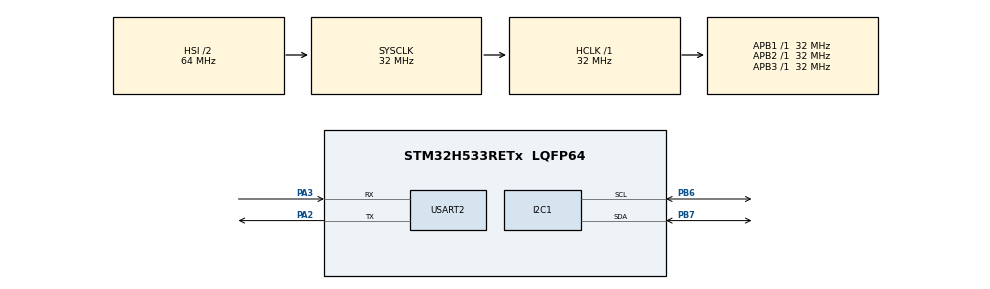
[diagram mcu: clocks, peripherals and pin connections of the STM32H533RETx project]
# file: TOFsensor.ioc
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BOOTPATH.BootPathName=LEGACY
BOOTPATH.UserSelectedBootPath=LEGACY
CORTEX_M33_NS.userName=CORTEX_M33
I2C1.Timing=0x00707CBB
Mcu.Family=STM32H5
Mcu.Name=STM32H533RETx
Mcu.Package=LQFP64
NVIC.PriorityGroup=NVIC_PRIORITYGROUP_4
NVIC.USART2_IRQn=true\:0\:0\:false\:false\:true\:true\:true\:true
PA2.Mode=Asynchronous
PA2.Signal=USART2_TX
PA3.Mode=Asynchronous
PA3.Signal=USART2_RX
PB6.Mode=I2C
PB6.Signal=I2C1_SCL
PB7.Mode=I2C
PB7.Signal=I2C1_SDA
ProjectManager.HeapSize=0x200
ProjectManager.StackSize=0x400
ProjectManager.TargetToolchain=STM32CubeIDE
RCC.ADCFreq_Value=32000000
RCC.AHBFreq_Value=32000000
RCC.APB1Freq_Value=32000000
RCC.APB1TimFreq_Value=32000000
RCC.APB2Freq_Value=32000000
RCC.APB2TimFreq_Value=32000000
RCC.APB3Freq_Value=32000000
RCC.CSI_VALUE=4000000
RCC.CortexFreq_Value=32000000
RCC.EPOD_VALUE=4000000
RCC.HCLKFreq_Value=32000000
RCC.HSE_VALUE=25000000
RCC.HSI48_VALUE=48000000
RCC.HSI_VALUE=64000000
RCC.LSE_VALUE=32768
RCC.LSIRC_VALUE=32000
RCC.SYSCLKFreq_VALUE=32000000
RCC.USBFreq_Value=48000000
RCC.VCOOutputFreq_Value=516000000
USART2.VirtualMode-Asynchronous=VM_ASYNC
VP_BOOTPATH_VS_BOOTPATH.Mode=BP_Activate
VP_CORTEX_M33_NS_VS_Hclk.Mode=Hclk_Mode
VP_MEMORYMAP_VS_MEMORYMAP.Mode=CurAppReg
VP_PWR_VS_LPOM.Mode=PowerOptimisation
VP_PWR_VS_SECSignals.Mode=Security/Privilege
board=custom

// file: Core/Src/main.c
/* USER CODE BEGIN Header */
/**
  ******************************************************************************
  * @file           : main.c
  * @brief          : Main program body
  ******************************************************************************
  * @attention
  *
  * Copyright (c) 2025 STMicroelectronics.
  * All rights reserved.
  *
  * This software is licensed under terms that can be found in the LICENSE file
  * in the root directory of this software component.
  * If no LICENSE file comes with this software, it is provided AS-IS.
  *
  ******************************************************************************
  */
/* USER CODE END Header */
#include "main.h"

/* USER CODE BEGIN Includes */
#include <stdio.h>
/* USER CODE END Includes */

I2C_HandleTypeDef hi2c1;

UART_HandleTypeDef huart2;

void SystemClock_Config(void);
static void MX_GPIO_Init(void);
static void MX_I2C1_Init(void);
static void MX_USART2_UART_Init(void);

/* USER CODE BEGIN 0 */
#define TCA9548A_ADDR  (0x70 << 1)  // Multiplexer adres
#define VL6180X_ADDR   (0x29 << 1)  // Sensor adres

int __io_putchar(int ch);
uint8_t VL6180X_ReadRange();
//void TCA9548A_SelectChannel();
/* USER CODE END 0 */

int main(void)
{

  /* MCU Configuration--------------------------------------------------------*/

  /* Reset of all peripherals, Initializes the Flash interface and the Systick. */
  HAL_Init();

  /* Configure the system clock */
  SystemClock_Config();

  /* Initialize all configured peripherals */
  MX_GPIO_Init();
  MX_I2C1_Init();
  MX_USART2_UART_Init();

  /* Infinite loop */
  /* USER CODE BEGIN WHILE */
  	       uint8_t status;
  	       uint8_t cmd;

  	       cmd = (1 << 4);
  	       HAL_I2C_Master_Transmit(&hi2c1, TCA9548A_ADDR, &cmd, 1, HAL_MAX_DELAY);
  	       // Test of het sensoradres antwoordt
  	       status = HAL_I2C_IsDeviceReady(&hi2c1, VL6180X_ADDR, 3, 100);

  	       if(status == HAL_OK)
  	           printf("Sensor aanwezig op kanaal 4!\r\n");
  	       else
  	           printf("Sensor NIET gevonden op kanaal 4!\r\n");

  TCA9548A_SelectChannel(4);    // Selecteer kanaal 4
  HAL_Delay(10);
  VL6180X_SimpleInit();
  while (1)
  {
    /* USER CODE END WHILE */

    /* USER CODE BEGIN 3 */

      uint8_t afstand = VL6180X_ReadRange();
      printf("Afstand: %d mm\r\n", afstand);
//      HAL_Delay(250);

//	       printf("I2C scan op kanaal 4:\r\n");
//	       for(uint8_t addr=1; addr<128; addr++) {
//	           if(HAL_I2C_IsDeviceReady(&hi2c1, addr << 1, 1, 10) == HAL_OK) {
//	               printf("Adres 0x%02X gevonden\r\n", addr);
//	           }
//	       }

//

  }
  /* USER CODE END 3 */
}

void SystemClock_Config(void)
{
  RCC_OscInitTypeDef RCC_OscInitStruct = {0};
  RCC_ClkInitTypeDef RCC_ClkInitStruct = {0};

  /** Configure the main internal regulator output voltage
  */
  __HAL_PWR_VOLTAGESCALING_CONFIG(PWR_REGULATOR_VOLTAGE_SCALE3);

  while(!__HAL_PWR_GET_FLAG(PWR_FLAG_VOSRDY)) {}

  /** Initializes the RCC Oscillators according to the specified parameters
  * in the RCC_OscInitTypeDef structure.
  */
  RCC_OscInitStruct.OscillatorType = RCC_OSCILLATORTYPE_HSI;
  RCC_OscInitStruct.HSIState = RCC_HSI_ON;
  RCC_OscInitStruct.HSIDiv = RCC_HSI_DIV2;
  RCC_OscInitStruct.HSICalibrationValue = RCC_HSICALIBRATION_DEFAULT;
  RCC_OscInitStruct.PLL.PLLState = RCC_PLL_NONE;
  if (HAL_RCC_OscConfig(&RCC_OscInitStruct) != HAL_OK)
  {
    Error_Handler();
  }

  /** Initializes the CPU, AHB and APB buses clocks
  */
  RCC_ClkInitStruct.ClockType = RCC_CLOCKTYPE_HCLK|RCC_CLOCKTYPE_SYSCLK
                              |RCC_CLOCKTYPE_PCLK1|RCC_CLOCKTYPE_PCLK2
                              |RCC_CLOCKTYPE_PCLK3;
  RCC_ClkInitStruct.SYSCLKSource = RCC_SYSCLKSOURCE_HSI;
  RCC_ClkInitStruct.AHBCLKDivider = RCC_SYSCLK_DIV1;
  RCC_ClkInitStruct.APB1CLKDivider = RCC_HCLK_DIV1;
  RCC_ClkInitStruct.APB2CLKDivider = RCC_HCLK_DIV1;
  RCC_ClkInitStruct.APB3CLKDivider = RCC_HCLK_DIV1;

  if (HAL_RCC_ClockConfig(&RCC_ClkInitStruct, FLASH_LATENCY_1) != HAL_OK)
  {
    Error_Handler();
  }

  /** Configure the programming delay
  */
  __HAL_FLASH_SET_PROGRAM_DELAY(FLASH_PROGRAMMING_DELAY_0);
}

static void MX_I2C1_Init(void)
{

  hi2c1.Instance = I2C1;
  hi2c1.Init.Timing = 0x00707CBB;
  hi2c1.Init.OwnAddress1 = 0;
  hi2c1.Init.AddressingMode = I2C_ADDRESSINGMODE_7BIT;
  hi2c1.Init.DualAddressMode = I2C_DUALADDRESS_DISABLE;
  hi2c1.Init.OwnAddress2 = 0;
  hi2c1.Init.OwnAddress2Masks = I2C_OA2_NOMASK;
  hi2c1.Init.GeneralCallMode = I2C_GENERALCALL_DISABLE;
  hi2c1.Init.NoStretchMode = I2C_NOSTRETCH_DISABLE;
  if (HAL_I2C_Init(&hi2c1) != HAL_OK)
  {
    Error_Handler();
  }

  /** Configure Analogue filter
  */
  if (HAL_I2CEx_ConfigAnalogFilter(&hi2c1, I2C_ANALOGFILTER_ENABLE) != HAL_OK)
  {
    Error_Handler();
  }

  /** Configure Digital filter
  */
  if (HAL_I2CEx_ConfigDigitalFilter(&hi2c1, 0) != HAL_OK)
  {
    Error_Handler();
  }

}

static void MX_USART2_UART_Init(void)
{

  huart2.Instance = USART2;
  huart2.Init.BaudRate = 115200;
  huart2.Init.WordLength = UART_WORDLENGTH_8B;
  huart2.Init.StopBits = UART_STOPBITS_1;
  huart2.Init.Parity = UART_PARITY_NONE;
  huart2.Init.Mode = UART_MODE_TX_RX;
  huart2.Init.HwFlowCtl = UART_HWCONTROL_NONE;
  huart2.Init.OverSampling = UART_OVERSAMPLING_16;
  huart2.Init.OneBitSampling = UART_ONE_BIT_SAMPLE_DISABLE;
  huart2.Init.ClockPrescaler = UART_PRESCALER_DIV1;
  huart2.AdvancedInit.AdvFeatureInit = UART_ADVFEATURE_NO_INIT;
  if (HAL_UART_Init(&huart2) != HAL_OK)
  {
    Error_Handler();
  }
  if (HAL_UARTEx_SetTxFifoThreshold(&huart2, UART_TXFIFO_THRESHOLD_1_8) != HAL_OK)
  {
    Error_Handler();
  }
  if (HAL_UARTEx_SetRxFifoThreshold(&huart2, UART_RXFIFO_THRESHOLD_1_8) != HAL_OK)
  {
    Error_Handler();
  }
  if (HAL_UARTEx_DisableFifoMode(&huart2) != HAL_OK)
  {
    Error_Handler();
  }

}

static void MX_GPIO_Init(void)
{

  /* GPIO Ports Clock Enable */
  __HAL_RCC_GPIOA_CLK_ENABLE();
  __HAL_RCC_GPIOB_CLK_ENABLE();

}

/* USER CODE BEGIN 4 */
int __io_putchar(int ch){
  	HAL_UART_Transmit(&huart2, (uint8_t*)&ch, 1, HAL_MAX_DELAY);
  	return ch;
}

void TCA9548A_SelectChannel(uint8_t channel)
{
		       uint8_t status;
		       uint8_t cmd;
    if (channel > 7) return;
//    uint8_t cmd = (1 << channel);
//    HAL_I2C_Master_Transmit(&hi2c1, TCA9548A_ADDR, &cmd, 1, HAL_MAX_DELAY);
    cmd = (1 << 4);
    HAL_I2C_Master_Transmit(&hi2c1, TCA9548A_ADDR, &cmd, 1, HAL_MAX_DELAY);
}

// VL6180X register schrijven (16-bit registeradres)
void VL6180X_WriteReg(uint16_t reg, uint8_t val)
{
    HAL_I2C_Mem_Write(&hi2c1, VL6180X_ADDR, reg, I2C_MEMADD_SIZE_16BIT, &val, 1, HAL_MAX_DELAY);
}

// VL6180X register lezen (16-bit registeradres)
uint8_t VL6180X_ReadReg(uint16_t reg)
{
    uint8_t val;
    HAL_StatusTypeDef status;

        status = HAL_I2C_Mem_Read(&hi2c1, VL6180X_ADDR, reg, I2C_MEMADD_SIZE_16BIT, &val, 1, HAL_MAX_DELAY);

    if (status != HAL_OK) {
        printf("FOUT: Leesfout bij reg 0x%04X, status = %d\r\n", reg, status);
    }

//    printf("FOUT: Leesfout bij reg 0x%04X, status = %d\r\n", reg, status);

    return val;
}

void VL6180X_SimpleInit(void)
{
    // Reset settings (optioneel, kan overslagen worden)
    VL6180X_WriteReg(0x0207, 0x01);
    VL6180X_WriteReg(0x0208, 0x01);
    VL6180X_WriteReg(0x0096, 0x00);
    VL6180X_WriteReg(0x0097, 0xfd);
    VL6180X_WriteReg(0x00e3, 0x00);
    VL6180X_WriteReg(0x00e4, 0x04);
    VL6180X_WriteReg(0x00e5, 0x02);
    VL6180X_WriteReg(0x00e6, 0x01);
    VL6180X_WriteReg(0x00e7, 0x03);
    VL6180X_WriteReg(0x00f5, 0x02);
    VL6180X_WriteReg(0x00d9, 0x05);
    VL6180X_WriteReg(0x00db, 0xce);
    VL6180X_WriteReg(0x00dc, 0x03);
    VL6180X_WriteReg(0x00dd, 0xf8);
    VL6180X_WriteReg(0x009f, 0x00);
    VL6180X_WriteReg(0x00a3, 0x3c);
    VL6180X_WriteReg(0x00b7, 0x00);
    VL6180X_WriteReg(0x00bb, 0x3c);
    VL6180X_WriteReg(0x00b2, 0x09);
    VL6180X_WriteReg(0x00ca, 0x09);
    VL6180X_WriteReg(0x0198, 0x01);
    VL6180X_WriteReg(0x01b0, 0x17);
    VL6180X_WriteReg(0x01ad, 0x00);
    VL6180X_WriteReg(0x00ff, 0x05);
    VL6180X_WriteReg(0x0100, 0x05);
    VL6180X_WriteReg(0x00ff, 0x00);
    VL6180X_WriteReg(0x010a, 0x30);
    VL6180X_WriteReg(0x003f, 0x46);
    VL6180X_WriteReg(0x01e3, 0xff);
    VL6180X_WriteReg(0x01e4, 0x01);
    VL6180X_WriteReg(0x01e5, 0x00);

    // Recommended : Public registers - See data sheet for more detail
    VL6180X_WriteReg(0x0011, 0x10); // Enables polling for 'New Sample ready'
                          // when measurement completes
    VL6180X_WriteReg(0x010a, 0x30); // Set the averaging sample period
                          // (compromise between lower noise and
                          // increased execution time)
    VL6180X_WriteReg(0x003f, 0x46); // Sets the light and dark gain (upper
                          // nibble). Dark gain should not be
                          // changed.
    VL6180X_WriteReg(0x0031, 0xFF); // sets the # of range measurements after
                          // which auto calibration of system is
                          // performed
    VL6180X_WriteReg(0x0041, 0x63); // Set ALS integration time to 100ms
    VL6180X_WriteReg(0x002e, 0x01); // perform a single temperature calibration
                          // of the ranging sensor

    // Optional: Public registers - See data sheet for more detail
    VL6180X_WriteReg(0x001b,
           0x09);         // Set default ranging inter-measurement
                          // period to 100ms
    VL6180X_WriteReg(0x003e, 0x31); // Set default ALS inter-measurement period
                          // to 500ms
    VL6180X_WriteReg(0x0014, 0x24); // Configures interrupt on 'New Sample
                          // Ready threshold event'
}

uint8_t VL6180X_ReadRange(void)
{
    // Stap 1: Start de range meting
    VL6180X_WriteReg(0x0018, 0x01);  // SYSRANGE__START

    // Stap 2: Wacht tot meting klaar is
    uint8_t status;
    uint32_t timeout = 1000;
    do {
        status = VL6180X_ReadReg(0x004F);  // RESULT__INTERRUPT_STATUS_GPIO
        HAL_Delay(1);
        timeout--;
        if (timeout == 0) {
            printf("Timeout tijdens meting\r\n");
            return 255;
        }
    } while ((status & 0x07) != 0x04);

    // Stap 3: Lees afstand
    uint8_t range = VL6180X_ReadReg(0x0062);  // RESULT__RANGE_VAL

    // Stap 4: Reset interrupt (anders blijven metingen hangen)
    VL6180X_WriteReg(0x0015, 0x07);  // SYSTEM__INTERRUPT_CLEAR

    // Stap 5: Check foutstatus
    uint8_t rangeStatus = VL6180X_ReadReg(0x0063);  // RESULT__RANGE_STATUS
    if (rangeStatus != 0x00) {
        printf("Foutstatus: 0x%02X\r\n", rangeStatus);
    }

    return range;
}
/* USER CODE END 4 */

void Error_Handler(void)
{
  __disable_irq();
  while (1)
  {
  }
}
